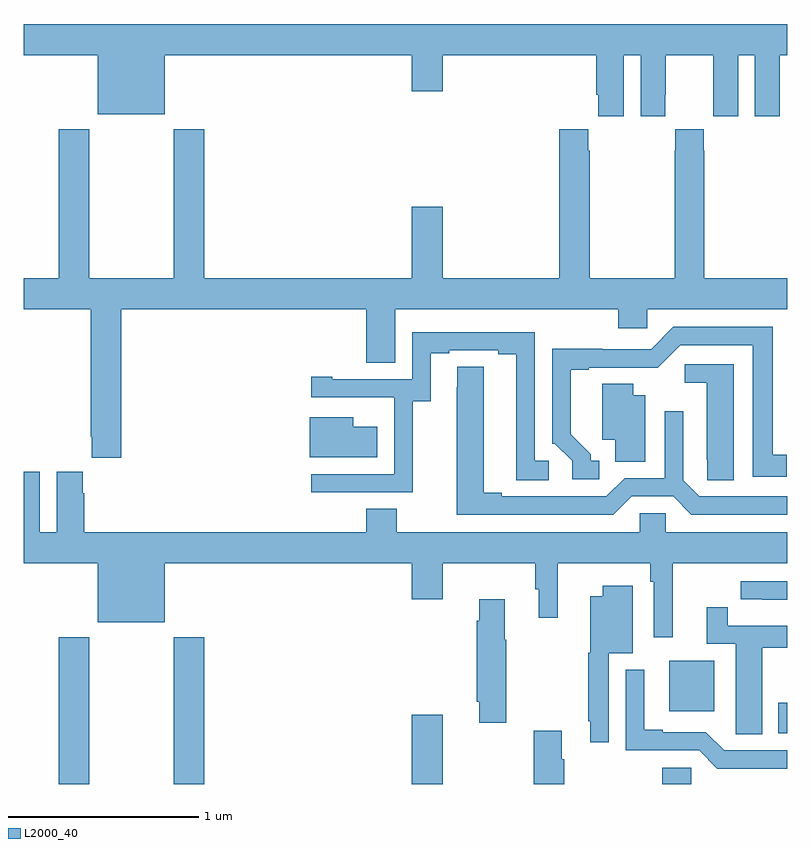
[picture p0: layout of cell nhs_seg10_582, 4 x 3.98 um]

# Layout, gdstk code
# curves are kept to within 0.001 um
import gdstk
lib = gdstk.Library(unit=1e-6, precision=1e-09)
def R(c, l, rs):  # rectangles x0, y0, x1, y1
    for r in rs: c.add(gdstk.rectangle(r[:2], r[2:], *l))
def P(c, l, *ps):  # polygons
    for p in ps: c.add(gdstk.Polygon(p, *l))
L2000_40 = (2000, 40)

nhs_seg10_582 = lib.new_cell('nhs_seg10_582')
R(nhs_seg10_582, L2000_40, [(139.181,1292.5,139.341,1293.268), (139.786,1292.5,139.946,1293.268), (141.032,1292.5,141.196,1292.863), (142.346,1292.5,142.497,1292.586), (142.955,1292.765,143,1292.925), (142.382,1292.882,142.618,1293.145)])
P(nhs_seg10_582, L2000_40, [(142.144,1296.32),(142.232,1296.32),(142.232,1296),(142.362,1296),(142.362,1296.112),(142.363,1296.112),(142.363,1296.32),(142.613,1296.32),(142.613,1296.112),(142.614,1296.112),(142.614,1296),(142.744,1296),(142.744,1296.32),(142.832,1296.32),(142.832,1296),(142.962,1296),(142.962,1296.112),(142.963,1296.112),(142.963,1296.32),(143,1296.32),(143,1296.484),(139,1296.484),(139,1296.32),(139.388,1296.32),(139.388,1296.011),(139.738,1296.011),(139.738,1296.32),(141.032,1296.32),(141.032,1296.132),(141.196,1296.132),(141.196,1296.32),(142.001,1296.32),(142.001,1296.112),(142.01,1296.112),(142.01,1296),(142.144,1296)],
  [(139.511,1294.988),(140.795,1294.988),(140.795,1294.708),(140.947,1294.708),(140.947,1294.988),(142.115,1294.988),(142.115,1294.89),(142.266,1294.89),(142.266,1294.988),(143,1294.988),(143,1295.152),(142.566,1295.152),(142.566,1295.819),(142.563,1295.819),(142.563,1295.932),(142.413,1295.932),(142.413,1295.819),(142.411,1295.819),(142.411,1295.152),(141.966,1295.152),(141.966,1295.819),(141.959,1295.819),(141.959,1295.932),(141.806,1295.932),(141.806,1295.152),(141.196,1295.152),(141.196,1295.527),(141.032,1295.527),(141.032,1295.152),(139.946,1295.152),(139.946,1295.932),(139.786,1295.932),(139.786,1295.152),(139.341,1295.152),(139.341,1295.932),(139.181,1295.932),(139.181,1295.152),(139,1295.152),(139,1294.988),(139.351,1294.988),(139.351,1294.321),(139.355,1294.321),(139.355,1294.209),(139.511,1294.209)],
  [(142.015,1294.194),(141.97,1294.194),(141.97,1294.229),(141.865,1294.334),(141.865,1294.671),(141.961,1294.671),(141.961,1294.683),(142.322,1294.682),(142.44,1294.8),(142.82,1294.8),(142.82,1294.11),(142.999,1294.11),(142.999,1294.226),(142.924,1294.226),(142.924,1294.896),(142.404,1294.896),(142.287,1294.779),(142.031,1294.779),(142.031,1294.781),(141.768,1294.781),(141.768,1294.284),(141.783,1294.284),(141.873,1294.194),(141.873,1294.098),(142.015,1294.098)],
  [(141.039,1294.507),(141.133,1294.507),(141.133,1294.758),(141.229,1294.758),(141.229,1294.773),(141.485,1294.773),(141.485,1294.753),(141.581,1294.753),(141.581,1294.093),(141.751,1294.093),(141.751,1294.194),(141.678,1294.194),(141.678,1294.869),(141.036,1294.869),(141.036,1294.623),(140.617,1294.623),(140.617,1294.636),(140.505,1294.636),(140.505,1294.527),(140.939,1294.527),(140.939,1294.526),(140.94,1294.526),(140.94,1294.125),(140.505,1294.125),(140.505,1294.029),(141.039,1294.029)],
  [(142.72,1294.701),(142.464,1294.701),(142.464,1294.604),(142.58,1294.604),(142.58,1294.201),(142.581,1294.201),(142.581,1294.093),(142.72,1294.093)],
  [(142.185,1294.008),(142.403,1294.008),(142.499,1293.912),(143,1293.912),(143,1294.008),(142.539,1294.008),(142.455,1294.092),(142.455,1294.453),(142.359,1294.453),(142.359,1294.104),(142.149,1294.104),(142.053,1294.008),(141.505,1294.008),(141.505,1294.028),(141.409,1294.028),(141.409,1294.688),(141.27,1294.688),(141.269,1293.912),(142.089,1293.912)],
  [(142.258,1294.537),(142.195,1294.537),(142.195,1294.598),(142.031,1294.598),(142.031,1294.304),(142.1,1294.304),(142.1,1294.189),(142.258,1294.189)],
  [(140.851,1294.372),(140.725,1294.372),(140.725,1294.423),(140.498,1294.423),(140.498,1294.214),(140.851,1294.214)],
  [(142.4,1293.656),(143,1293.656),(143,1293.82),(142.365,1293.82),(142.365,1293.918),(142.227,1293.918),(142.227,1293.82),(140.955,1293.82),(140.955,1293.944),(140.795,1293.944),(140.795,1293.82),(139.316,1293.82),(139.316,1294.025),(139.309,1294.025),(139.309,1294.138),(139.172,1294.138),(139.172,1293.82),(139.084,1293.82),(139.084,1294.138),(139,1294.138),(139,1293.656),(139.388,1293.656),(139.388,1293.347),(139.738,1293.347),(139.738,1293.656),(141.032,1293.656),(141.032,1293.468),(141.196,1293.468),(141.196,1293.656),(141.679,1293.656),(141.679,1293.522),(141.698,1293.522),(141.698,1293.372),(141.798,1293.372),(141.798,1293.656),(142.282,1293.656),(142.282,1293.56),(142.302,1293.56),(142.302,1293.27),(142.4,1293.27)],
  [(143,1293.564),(142.758,1293.564),(142.758,1293.468),(142.87,1293.468),(142.87,1293.467),(143,1293.467)],
  [(142.065,1293.185),(142.192,1293.185),(142.192,1293.538),(142.034,1293.538),(142.034,1293.484),(141.968,1293.484),(141.968,1293.189),(141.957,1293.189),(141.957,1292.83),(141.968,1292.83),(141.968,1292.718),(142.065,1292.718)],
  [(141.528,1293.256),(141.52,1293.256),(141.52,1293.469),(141.386,1293.469),(141.386,1293.356),(141.374,1293.356),(141.374,1292.932),(141.386,1292.932),(141.386,1292.82),(141.528,1292.82)],
  [(142.87,1293.214),(143,1293.214),(143,1293.33),(142.688,1293.33),(142.688,1293.427),(142.58,1293.427),(142.58,1293.234),(142.73,1293.234),(142.73,1292.872),(142.731,1292.872),(142.731,1292.761),(142.87,1292.761)],
  [(143,1292.676),(142.671,1292.676),(142.575,1292.772),(142.348,1292.772),(142.348,1292.785),(142.252,1292.785),(142.252,1293.1),(142.155,1293.1),(142.155,1292.676),(142.539,1292.676),(142.635,1292.58),(143,1292.58)],
  [(141.833,1292.63),(141.82,1292.63),(141.82,1292.779),(141.673,1292.779),(141.673,1292.5),(141.833,1292.5)])

lib.write_gds('nhs_seg10_582.gds')
